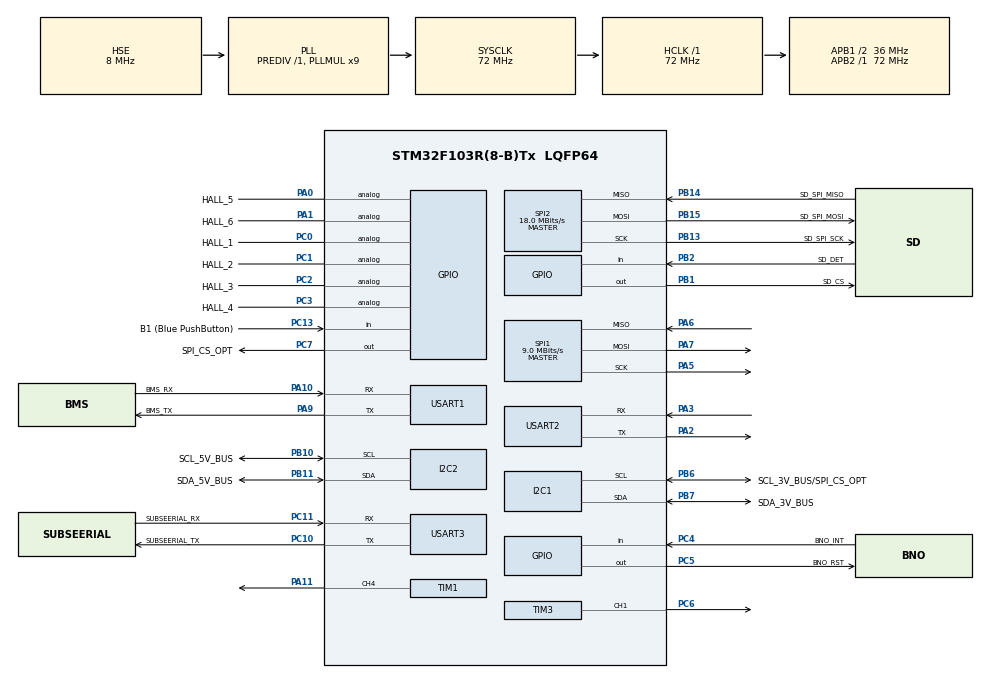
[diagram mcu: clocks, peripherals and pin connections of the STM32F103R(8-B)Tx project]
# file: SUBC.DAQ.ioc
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Mcu.Family=STM32F1
Mcu.Name=STM32F103R(8-B)Tx
Mcu.Package=LQFP64
NVIC.PriorityGroup=NVIC_PRIORITYGROUP_4
PA0-WKUP.GPIO_Label=HALL_5
PA0-WKUP.Signal=GPIO_Analog
PA1.GPIO_Label=HALL_6
PA1.Signal=GPIO_Analog
PA10.GPIO_Label=BMS_RX
PA10.Mode=Asynchronous
PA10.Signal=USART1_RX
PA11.Signal=S_TIM1_CH4
PA13.GPIO_Label=TMS
PA13.Mode=Serial_Wire
PA13.Signal=SYS_JTMS-SWDIO
PA14.GPIO_Label=TCK
PA14.Mode=Serial_Wire
PA14.Signal=SYS_JTCK-SWCLK
PA2.Mode=Asynchronous
PA2.Signal=USART2_TX
PA3.Mode=Asynchronous
PA3.Signal=USART2_RX
PA5.Mode=Full_Duplex_Master
PA5.Signal=SPI1_SCK
PA6.Mode=Full_Duplex_Master
PA6.Signal=SPI1_MISO
PA7.Mode=Full_Duplex_Master
PA7.Signal=SPI1_MOSI
PA9.GPIO_Label=BMS_TX
PA9.Mode=Asynchronous
PA9.Signal=USART1_TX
PB1.GPIO_Label=SD_CS
PB1.Signal=GPIO_Output
PB10.GPIO_Label=SCL_5V_BUS
PB10.Mode=I2C
PB10.Signal=I2C2_SCL
PB11.GPIO_Label=SDA_5V_BUS
PB11.Mode=I2C
PB11.Signal=I2C2_SDA
PB13.GPIO_Label=SD_SPI_SCK
PB13.Mode=Full_Duplex_Master
PB13.Signal=SPI2_SCK
PB14.GPIO_Label=SD_SPI_MISO
PB14.Mode=Full_Duplex_Master
PB14.Signal=SPI2_MISO
PB15.GPIO_Label=SD_SPI_MOSI
PB15.Mode=Full_Duplex_Master
PB15.Signal=SPI2_MOSI
PB2.GPIO_Label=SD_DET
PB2.Signal=GPIO_Input
PB3.GPIO_Label=SWO
PB3.Signal=SYS_JTDO-TRACESWO
PB6.GPIO_Label=SCL_3V_BUS/SPI_CS_OPT
PB6.Mode=I2C
PB6.Signal=I2C1_SCL
PB7.GPIO_Label=SDA_3V_BUS
PB7.Mode=I2C
PB7.Signal=I2C1_SDA
PC0.GPIO_Label=HALL_1
PC0.Signal=GPIO_Analog
PC1.GPIO_Label=HALL_2
PC1.Signal=GPIO_Analog
PC10.GPIO_Label=SUBSEERIAL_TX
PC10.Mode=Asynchronous
PC10.Signal=USART3_TX
PC11.GPIO_Label=SUBSEERIAL_RX
PC11.Mode=Asynchronous
PC11.Signal=USART3_RX
PC13-TAMPER-RTC.GPIO_Label=B1 (Blue PushButton)
PC13-TAMPER-RTC.Signal=GPIO_Input
PC14-OSC32_IN.Mode=LSE-External-Clock-Source
PC14-OSC32_IN.Signal=RCC_OSC32_IN
PC15-OSC32_OUT.Mode=LSE-External-Clock-Source
PC15-OSC32_OUT.Signal=RCC_OSC32_OUT
PC2.GPIO_Label=HALL_3
PC2.Signal=GPIO_Analog
PC3.GPIO_Label=HALL_4
PC3.Signal=GPIO_Analog
PC4.GPIO_Label=BNO_INT
PC4.Signal=GPIO_Input
PC5.GPIO_Label=BNO_RST
PC5.Signal=GPIO_Output
PC6.Signal=S_TIM3_CH1
PC7.GPIO_Label=SPI_CS_OPT
PC7.Signal=GPIO_Output
PD0-OSC_IN.Mode=HSE-External-Oscillator
PD0-OSC_IN.Signal=RCC_OSC_IN
PD1-OSC_OUT.Mode=HSE-External-Oscillator
PD1-OSC_OUT.Signal=RCC_OSC_OUT
ProjectManager.HeapSize=0x200
ProjectManager.StackSize=0x400
ProjectManager.TargetToolchain=Makefile
RCC.AHBFreq_Value=72000000
RCC.APB1CLKDivider=RCC_HCLK_DIV2
RCC.APB1Freq_Value=36000000
RCC.APB1TimFreq_Value=72000000
RCC.APB2Freq_Value=72000000
RCC.APB2TimFreq_Value=72000000
RCC.HCLKFreq_Value=72000000
RCC.PLLMUL=RCC_PLL_MUL9
RCC.PLLSourceVirtual=RCC_PLLSOURCE_HSE
RCC.SYSCLKFreq_VALUE=72000000
RCC.SYSCLKSource=RCC_SYSCLKSOURCE_PLLCLK
RCC.USBFreq_Value=72000000
SH.S_TIM1_CH4.0=TIM1_CH4,PWM Generation4 CH4
SH.S_TIM3_CH1.0=TIM3_CH1,PWM Generation1 CH1
SPI1.BaudRatePrescaler=SPI_BAUDRATEPRESCALER_8
SPI1.CalculateBaudRate=9.0 MBits/s
SPI1.Direction=SPI_DIRECTION_2LINES
SPI1.Mode=SPI_MODE_MASTER
SPI1.VirtualType=VM_MASTER
SPI2.BaudRatePrescaler=SPI_BAUDRATEPRESCALER_2
SPI2.CalculateBaudRate=18.0 MBits/s
SPI2.Direction=SPI_DIRECTION_2LINES
SPI2.Mode=SPI_MODE_MASTER
SPI2.VirtualType=VM_MASTER
TIM1.Channel-PWM\ Generation4\ CH4=TIM_CHANNEL_4
TIM3.Channel-PWM\ Generation1\ CH1=TIM_CHANNEL_1
USART1.VirtualMode=VM_ASYNC
USART2.VirtualMode=VM_ASYNC
USART3.VirtualMode=VM_ASYNC
VP_FATFS_VS_Generic.Mode=User_defined
VP_TIM1_VS_ClockSourceINT.Mode=Internal
VP_TIM3_VS_ClockSourceINT.Mode=Internal
board=custom

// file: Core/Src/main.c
/* USER CODE BEGIN Header */
/**
  ******************************************************************************
  * @file           : main.c
  * @brief          : Main program body
  ******************************************************************************
  * @attention
  *
  * <h2><center>&copy; Copyright (c) 2022 STMicroelectronics.
  * All rights reserved.</center></h2>
  *
  * This software component is licensed by ST under BSD 3-Clause license,
  * the "License"; You may not use this file except in compliance with the
  * License. You may obtain a copy of the License at:
  *                        opensource.org/licenses/BSD-3-Clause
  *
  ******************************************************************************
  */
/* USER CODE END Header */
#include "main.h"
#include "fatfs.h"

/* USER CODE BEGIN Includes */
#include "bno055_stm32.h"
#include "MS5837.h"
#include <stdio.h>
#include <string.h>
#include <stdarg.h>
/* USER CODE END Includes */

/* USER CODE BEGIN PTD */
#define MAX_LED 50
#define USE_BRIGHTNESS 0
/* USER CODE END PTD */

 I2C_HandleTypeDef hi2c1;
I2C_HandleTypeDef hi2c2;

SPI_HandleTypeDef hspi1;
SPI_HandleTypeDef hspi2;

TIM_HandleTypeDef htim1;
TIM_HandleTypeDef htim3;

UART_HandleTypeDef huart1;
UART_HandleTypeDef huart2;
UART_HandleTypeDef huart3;

/* USER CODE BEGIN PV */
uint8_t LED_Data[MAX_LED][4]; //Array to store the colour of LED
uint8_t LED_Mod[MAX_LED][4]; //Array to store the brightness of the LED
uint16_t pwmData[(24*MAX_LED)+50]; //Array to store colour in PWM format that LEDs expect
volatile int datasentflag=0;
/* USER CODE END PV */

void SystemClock_Config(void);
static void MX_GPIO_Init(void);
static void MX_USART2_UART_Init(void);
static void MX_I2C1_Init(void);
static void MX_SPI2_Init(void);
static void MX_USART1_UART_Init(void);
static void MX_USART3_UART_Init(void);
static void MX_I2C2_Init(void);
static void MX_SPI1_Init(void);
static void MX_TIM1_Init(void);
static void MX_TIM3_Init(void);
/* USER CODE BEGIN PFP */
void myprintf(const char *fmt, ...);
void Set_LED (int LEDnum, int Red, int Green, int Blue);
void LED_Sequence(int mode, int Red, int Green, int Blue);
void SetSome(int Red, int Green, int Blue, int interval, int start);
void SweepAll(int Red, int Green, int Blue);
void Christmas(int mode);
void LED_RaceStart(void);
void TestAll(int Red, int Green, int Blue);
double CalculateAccel (double velocity1, double velocity2, double time);
void ReflectData(double vector);
/* USER CODE END PFP */

/* USER CODE BEGIN 0 */

void myprintf(const char *fmt, ...) {
  static char buffer[256];
  va_list args;
  va_start(args, fmt);
  vsnprintf(buffer, sizeof(buffer), fmt, args);
  va_end(args);

  int len = strlen(buffer);
  HAL_UART_Transmit(&huart2, (uint8_t*)buffer, len, -1);
}

//Function to set LED colours
void Set_LED (int LEDnum, int Red, int Green, int Blue)
{
	LED_Data[LEDnum][0] = LEDnum;
	LED_Data[LEDnum][1] = Red;
	LED_Data[LEDnum][2] = Green;
	LED_Data[LEDnum][3] = Blue;
}

//Function to send data to LEDs
void WS2812_Send (void)
{
	uint32_t index=0; //Indexing varibale used to maintain its value through loops
	uint32_t colour;

  for (int i = 0; i < MAX_LED; i++){
    //Extract colour for current LED as a 24-bit string. Each element of LED_Data is 8 bits
    colour = ((LED_Data[i][1]<<16)|(LED_Data[i][2]<<8)|(LED_Data[i][3]));

    //Parse the extracted colour to see how long the PWM should be for each bit
    //Start j at 23 since MSB must be sent first(see datasheet)
    for (int j = 23; j >= 0; j--){

      if(colour & (1<<j)){
        pwmData[index] = 70*0.56667; //In order to send a 1, the duty cycle must be 0.56667
      }
      else pwmData[index] = 70*0.3; //In order to send a 0, the duty cycle must be 0.3
      index++;
    }

  }

  //Add the reset string so that the LEDs know that the end of the string has been reached
  for(int i = 0; i<50; i++){
    pwmData[index] = 0;
    index++;
  }

  //Once the LED colours have been parsed, send the data!
  HAL_TIM_PWM_Start_DMA(&htim1, TIM_CHANNEL_2, (uint32_t*)pwmData, index);
  while(!datasentflag){}; //Wait until data has been sent(flag is set through an interrupt)
  datasentflag = 0; //Reset flag after data has beens sent so we can send more data
}

void HAL_TIM_PWM_PulseFinishedCallback(TIM_HandleTypeDef *htim)
{
	HAL_TIM_PWM_Stop_DMA(&htim1, TIM_CHANNEL_2);
  datasentflag=1;
}

//Sets all LEDs to one colour
void SetAll(int Red, int Green, int Blue){
  for(int i = 0; i < 50; i++){
    Set_LED(i, Red, Green, Blue);
  }
}

//Sets some LEDs to a colour using a start number and intervals of incrementation
void SetSome(int Red, int Green, int Blue, int interval, int start){
  for(int i = start; i < 50; i += interval){
    Set_LED(i, Red, Green, Blue);
  }
}

//Function to set LEDs in certain ranges (0 through 10, 5 through 30, etc.)
void SetSection(int Red, int Green, int Blue, int start, int final)
{
  for(int i = start; i <= final; i++){
    Set_LED(i, Red, Green, Blue);
  }
}

//fades all the LEDs between some colour and off
void SweepAll(int Red, int Green, int Blue)
{
  for(double i = 0; i < 1; i += 0.01){
    SetAll(i*Red, i*Green, i*Blue);
    WS2812_Send();
    HAL_Delay(10);
  }
  for(double i = 1; i > 0; i -= 0.01){
    SetAll(i*Red, i*Green, i*Blue);
    WS2812_Send();
    HAL_Delay(10);
  }
  HAL_Delay(100);
}

//:)
void Christmas(int mode)
{
  //mode 0: static
  //mode 1: change lights up
  //mode 2: change lights down

  if(mode == 0){
   for(int i = 0; i < 50 ; i++){
      if(i % 3 == 0){
        Set_LED(i, 255, 0, 0); //red
      }
      else if(i % 3 == 1){
        Set_LED(i, 255, 255, 255); //white
      }
      else if(i % 3 == 2){
        Set_LED(i, 88, 139, 31); //green
      }
    }
  }
  else if(mode == 1){
    for(int i = 0; i < 50 ; i++){
      switch (LED_Data[i][2]) //if green is...
      {
      case 0: //in red mode
        Set_LED(i, 255, 255, 255); //make it white
        break;

      case 255: //in white mode
         Set_LED(i, 88, 139, 31); //to green
        break;

      case 139: //in green mode
        Set_LED(i, 255, 0, 0); //make it red
        break;

      default:
        break;
      }

      }
    }
    else if(mode == 2){
    for(int i = 0; i < 50 ; i++){
      switch (LED_Data[i][2])
      {
      case 0:
        Set_LED(i, 88, 139, 31);
        break;

      case 255:
         Set_LED(i, 255, 0, 0);
        break;

      case 139:
        Set_LED(i, 255, 255, 255);
        break;

      default:
        break;
      }

      }
    }

}

//sets all leds to certain colours for periods of time before setting them off
void LED_RaceStart(void){
  SetAll(255, 0, 0);
  WS2812_Send();
  HAL_Delay(2000);

  SetAll(150, 100, 0);
  WS2812_Send();
  HAL_Delay(2000);

  SetAll(0, 255, 0);
  WS2812_Send();
  HAL_Delay(2000);

  SetAll(0,0,0);
  WS2812_Send();
}

//if mode is 1, then the leds turn some colour, one by one
void LED_Sequence(int mode, int Red, int Green, int Blue){
  for(int i = 0; i < 50; i++){
    if(mode == 1){
       Set_LED(i, Red, Green, Blue);
    }
    else Set_LED(i, 0, 0, 0);

    WS2812_Send();
    HAL_Delay(50);
  }
}

//test function
void TestAll(int Red, int Green, int Blue){
  Set_LED(0, Red, Green, Blue);

  for(int i = 1; i < 50; i++){
    SetAll(0,0,0);
    Set_LED(i, Red, Green, Blue);
    WS2812_Send();
    while(HAL_GPIO_ReadPin(B1_GPIO_Port, B1_Pin)){}
    while(!HAL_GPIO_ReadPin(B1_GPIO_Port, B1_Pin)){}
  }
}
void ReflectData(double vector) {
 if (vector > 0){
   SetAll(255, 0, 0);
 } else if (vector < 0) {
   SetAll(0, 255, 0);
 }
}

double CalculateAccel (double velocity1, double velocity2, double time) {
  double acceleration = (velocity1 + velocity2)/time;

  return acceleration;
}

/* USER CODE END 0 */

int main(void)
{
  /* USER CODE BEGIN 1 */
  float altitude_float = 0;
  float depth_float = 0;

  /* USER CODE END 1 */

  /* MCU Configuration--------------------------------------------------------*/

  /* Reset of all peripherals, Initializes the Flash interface and the Systick. */
  HAL_Init();

  /* Configure the system clock */
  SystemClock_Config();

  /* Initialize all configured peripherals */
  MX_GPIO_Init();
  MX_USART2_UART_Init();
  MX_I2C1_Init();
  MX_SPI2_Init();
  MX_USART1_UART_Init();
  MX_USART3_UART_Init();
  MX_I2C2_Init();
  MX_SPI1_Init();
  MX_FATFS_Init();
  MX_TIM1_Init();
  MX_TIM3_Init();
  /* USER CODE BEGIN 2 */

  bno055_assignI2C(&hi2c1);
  bno055_setup();
  bno055_setOperationModeNDOF();

  HAL_Delay(1000); //a short delay is important to let the SD card settle

  bno055_vector_t v = {0,0,0,0};
  SetAll(255,0,255);
  WS2812_Send();

  // checks if initialization worked
  while (!MS5837_init(&hi2c1)) {
    myprintf("Init failed!");
  }
  myprintf("Sensor initialized\n\r");
  /* USER CODE END 2 */

  /* Infinite loop */
  /* USER CODE BEGIN WHILE */
  while (1)
  {
    // depth sensor code
    MS5837_read(&hi2c1);
    altitude_float = altitude();
    depth_float = depth();

    // if printing: Altitude: 44307, Depth: -10, then pressure is not being read (or is 0), probably the former.
    myprintf("Altitude: %d, Depth: %d\r\n", (int) altitude_float, (int) depth_float);

    // bno code
	  HAL_Delay(30);
    v = bno055_getVectorEuler();
    myprintf("Yaw: %d Roll: %d Pitch: %d\r\n", (int) v.x, (int) v.z, (int) v.y);
    SetAll(255,0,255);
    WS2812_Send();

    /* USER CODE END WHILE */

  }
}

void SystemClock_Config(void)
{
  RCC_OscInitTypeDef RCC_OscInitStruct = {0};
  RCC_ClkInitTypeDef RCC_ClkInitStruct = {0};

  /** Initializes the RCC Oscillators according to the specified parameters
  * in the RCC_OscInitTypeDef structure.
  */
  RCC_OscInitStruct.OscillatorType = RCC_OSCILLATORTYPE_HSE;
  RCC_OscInitStruct.HSEState = RCC_HSE_ON;
  RCC_OscInitStruct.HSEPredivValue = RCC_HSE_PREDIV_DIV1;
  RCC_OscInitStruct.HSIState = RCC_HSI_ON;
  RCC_OscInitStruct.PLL.PLLState = RCC_PLL_ON;
  RCC_OscInitStruct.PLL.PLLSource = RCC_PLLSOURCE_HSE;
  RCC_OscInitStruct.PLL.PLLMUL = RCC_PLL_MUL9;
  if (HAL_RCC_OscConfig(&RCC_OscInitStruct) != HAL_OK)
  {
    Error_Handler();
  }

  /** Initializes the CPU, AHB and APB buses clocks
  */
  RCC_ClkInitStruct.ClockType = RCC_CLOCKTYPE_HCLK|RCC_CLOCKTYPE_SYSCLK
                              |RCC_CLOCKTYPE_PCLK1|RCC_CLOCKTYPE_PCLK2;
  RCC_ClkInitStruct.SYSCLKSource = RCC_SYSCLKSOURCE_PLLCLK;
  RCC_ClkInitStruct.AHBCLKDivider = RCC_SYSCLK_DIV1;
  RCC_ClkInitStruct.APB1CLKDivider = RCC_HCLK_DIV2;
  RCC_ClkInitStruct.APB2CLKDivider = RCC_HCLK_DIV1;

  if (HAL_RCC_ClockConfig(&RCC_ClkInitStruct, FLASH_LATENCY_2) != HAL_OK)
  {
    Error_Handler();
  }
}

static void MX_I2C1_Init(void)
{

  hi2c1.Instance = I2C1;
  hi2c1.Init.ClockSpeed = 100000;
  hi2c1.Init.DutyCycle = I2C_DUTYCYCLE_2;
  hi2c1.Init.OwnAddress1 = 0;
  hi2c1.Init.AddressingMode = I2C_ADDRESSINGMODE_7BIT;
  hi2c1.Init.DualAddressMode = I2C_DUALADDRESS_DISABLE;
  hi2c1.Init.OwnAddress2 = 0;
  hi2c1.Init.GeneralCallMode = I2C_GENERALCALL_DISABLE;
  hi2c1.Init.NoStretchMode = I2C_NOSTRETCH_DISABLE;
  if (HAL_I2C_Init(&hi2c1) != HAL_OK)
  {
    Error_Handler();
  }

}

static void MX_I2C2_Init(void)
{

  hi2c2.Instance = I2C2;
  hi2c2.Init.ClockSpeed = 100000;
  hi2c2.Init.DutyCycle = I2C_DUTYCYCLE_2;
  hi2c2.Init.OwnAddress1 = 0;
  hi2c2.Init.AddressingMode = I2C_ADDRESSINGMODE_7BIT;
  hi2c2.Init.DualAddressMode = I2C_DUALADDRESS_DISABLE;
  hi2c2.Init.OwnAddress2 = 0;
  hi2c2.Init.GeneralCallMode = I2C_GENERALCALL_DISABLE;
  hi2c2.Init.NoStretchMode = I2C_NOSTRETCH_DISABLE;
  if (HAL_I2C_Init(&hi2c2) != HAL_OK)
  {
    Error_Handler();
  }

}

static void MX_SPI1_Init(void)
{

  /* SPI1 parameter configuration*/
  hspi1.Instance = SPI1;
  hspi1.Init.Mode = SPI_MODE_MASTER;
  hspi1.Init.Direction = SPI_DIRECTION_2LINES;
  hspi1.Init.DataSize = SPI_DATASIZE_8BIT;
  hspi1.Init.CLKPolarity = SPI_POLARITY_LOW;
  hspi1.Init.CLKPhase = SPI_PHASE_1EDGE;
  hspi1.Init.NSS = SPI_NSS_SOFT;
  hspi1.Init.BaudRatePrescaler = SPI_BAUDRATEPRESCALER_8;
  hspi1.Init.FirstBit = SPI_FIRSTBIT_MSB;
  hspi1.Init.TIMode = SPI_TIMODE_DISABLE;
  hspi1.Init.CRCCalculation = SPI_CRCCALCULATION_DISABLE;
  hspi1.Init.CRCPolynomial = 10;
  if (HAL_SPI_Init(&hspi1) != HAL_OK)
  {
    Error_Handler();
  }

}

static void MX_SPI2_Init(void)
{

  /* SPI2 parameter configuration*/
  hspi2.Instance = SPI2;
  hspi2.Init.Mode = SPI_MODE_MASTER;
  hspi2.Init.Direction = SPI_DIRECTION_2LINES;
  hspi2.Init.DataSize = SPI_DATASIZE_8BIT;
  hspi2.Init.CLKPolarity = SPI_POLARITY_LOW;
  hspi2.Init.CLKPhase = SPI_PHASE_1EDGE;
  hspi2.Init.NSS = SPI_NSS_SOFT;
  hspi2.Init.BaudRatePrescaler = SPI_BAUDRATEPRESCALER_2;
  hspi2.Init.FirstBit = SPI_FIRSTBIT_MSB;
  hspi2.Init.TIMode = SPI_TIMODE_DISABLE;
  hspi2.Init.CRCCalculation = SPI_CRCCALCULATION_DISABLE;
  hspi2.Init.CRCPolynomial = 10;
  if (HAL_SPI_Init(&hspi2) != HAL_OK)
  {
    Error_Handler();
  }

}

static void MX_TIM1_Init(void)
{

  TIM_ClockConfigTypeDef sClockSourceConfig = {0};
  TIM_MasterConfigTypeDef sMasterConfig = {0};
  TIM_OC_InitTypeDef sConfigOC = {0};
  TIM_BreakDeadTimeConfigTypeDef sBreakDeadTimeConfig = {0};

  htim1.Instance = TIM1;
  htim1.Init.Prescaler = 0;
  htim1.Init.CounterMode = TIM_COUNTERMODE_UP;
  htim1.Init.Period = 65535;
  htim1.Init.ClockDivision = TIM_CLOCKDIVISION_DIV1;
  htim1.Init.RepetitionCounter = 0;
  htim1.Init.AutoReloadPreload = TIM_AUTORELOAD_PRELOAD_DISABLE;
  if (HAL_TIM_Base_Init(&htim1) != HAL_OK)
  {
    Error_Handler();
  }
  sClockSourceConfig.ClockSource = TIM_CLOCKSOURCE_INTERNAL;
  if (HAL_TIM_ConfigClockSource(&htim1, &sClockSourceConfig) != HAL_OK)
  {
    Error_Handler();
  }
  if (HAL_TIM_PWM_Init(&htim1) != HAL_OK)
  {
    Error_Handler();
  }
  sMasterConfig.MasterOutputTrigger = TIM_TRGO_RESET;
  sMasterConfig.MasterSlaveMode = TIM_MASTERSLAVEMODE_DISABLE;
  if (HAL_TIMEx_MasterConfigSynchronization(&htim1, &sMasterConfig) != HAL_OK)
  {
    Error_Handler();
  }
  sConfigOC.OCMode = TIM_OCMODE_PWM1;
  sConfigOC.Pulse = 0;
  sConfigOC.OCPolarity = TIM_OCPOLARITY_HIGH;
  sConfigOC.OCFastMode = TIM_OCFAST_DISABLE;
  sConfigOC.OCIdleState = TIM_OCIDLESTATE_RESET;
  sConfigOC.OCNIdleState = TIM_OCNIDLESTATE_RESET;
  if (HAL_TIM_PWM_ConfigChannel(&htim1, &sConfigOC, TIM_CHANNEL_4) != HAL_OK)
  {
    Error_Handler();
  }
  sBreakDeadTimeConfig.OffStateRunMode = TIM_OSSR_DISABLE;
  sBreakDeadTimeConfig.OffStateIDLEMode = TIM_OSSI_DISABLE;
  sBreakDeadTimeConfig.LockLevel = TIM_LOCKLEVEL_OFF;
  sBreakDeadTimeConfig.DeadTime = 0;
  sBreakDeadTimeConfig.BreakState = TIM_BREAK_DISABLE;
  sBreakDeadTimeConfig.BreakPolarity = TIM_BREAKPOLARITY_HIGH;
  sBreakDeadTimeConfig.AutomaticOutput = TIM_AUTOMATICOUTPUT_DISABLE;
  if (HAL_TIMEx_ConfigBreakDeadTime(&htim1, &sBreakDeadTimeConfig) != HAL_OK)
  {
    Error_Handler();
  }
  HAL_TIM_MspPostInit(&htim1);

}

static void MX_TIM3_Init(void)
{

  TIM_ClockConfigTypeDef sClockSourceConfig = {0};
  TIM_MasterConfigTypeDef sMasterConfig = {0};
  TIM_OC_InitTypeDef sConfigOC = {0};

  htim3.Instance = TIM3;
  htim3.Init.Prescaler = 0;
  htim3.Init.CounterMode = TIM_COUNTERMODE_UP;
  htim3.Init.Period = 65535;
  htim3.Init.ClockDivision = TIM_CLOCKDIVISION_DIV1;
  htim3.Init.AutoReloadPreload = TIM_AUTORELOAD_PRELOAD_DISABLE;
  if (HAL_TIM_Base_Init(&htim3) != HAL_OK)
  {
    Error_Handler();
  }
  sClockSourceConfig.ClockSource = TIM_CLOCKSOURCE_INTERNAL;
  if (HAL_TIM_ConfigClockSource(&htim3, &sClockSourceConfig) != HAL_OK)
  {
    Error_Handler();
  }
  if (HAL_TIM_PWM_Init(&htim3) != HAL_OK)
  {
    Error_Handler();
  }
  sMasterConfig.MasterOutputTrigger = TIM_TRGO_RESET;
  sMasterConfig.MasterSlaveMode = TIM_MASTERSLAVEMODE_DISABLE;
  if (HAL_TIMEx_MasterConfigSynchronization(&htim3, &sMasterConfig) != HAL_OK)
  {
    Error_Handler();
  }
  sConfigOC.OCMode = TIM_OCMODE_PWM1;
  sConfigOC.Pulse = 0;
  sConfigOC.OCPolarity = TIM_OCPOLARITY_HIGH;
  sConfigOC.OCFastMode = TIM_OCFAST_DISABLE;
  if (HAL_TIM_PWM_ConfigChannel(&htim3, &sConfigOC, TIM_CHANNEL_1) != HAL_OK)
  {
    Error_Handler();
  }
  HAL_TIM_MspPostInit(&htim3);

}

static void MX_USART1_UART_Init(void)
{

  huart1.Instance = USART1;
  huart1.Init.BaudRate = 115200;
  huart1.Init.WordLength = UART_WORDLENGTH_8B;
  huart1.Init.StopBits = UART_STOPBITS_1;
  huart1.Init.Parity = UART_PARITY_NONE;
  huart1.Init.Mode = UART_MODE_TX_RX;
  huart1.Init.HwFlowCtl = UART_HWCONTROL_NONE;
  huart1.Init.OverSampling = UART_OVERSAMPLING_16;
  if (HAL_UART_Init(&huart1) != HAL_OK)
  {
    Error_Handler();
  }

}

static void MX_USART2_UART_Init(void)
{

  huart2.Instance = USART2;
  huart2.Init.BaudRate = 115200;
  huart2.Init.WordLength = UART_WORDLENGTH_8B;
  huart2.Init.StopBits = UART_STOPBITS_1;
  huart2.Init.Parity = UART_PARITY_NONE;
  huart2.Init.Mode = UART_MODE_TX_RX;
  huart2.Init.HwFlowCtl = UART_HWCONTROL_NONE;
  huart2.Init.OverSampling = UART_OVERSAMPLING_16;
  if (HAL_UART_Init(&huart2) != HAL_OK)
  {
    Error_Handler();
  }

}

static void MX_USART3_UART_Init(void)
{

  huart3.Instance = USART3;
  huart3.Init.BaudRate = 115200;
  huart3.Init.WordLength = UART_WORDLENGTH_8B;
  huart3.Init.StopBits = UART_STOPBITS_1;
  huart3.Init.Parity = UART_PARITY_NONE;
  huart3.Init.Mode = UART_MODE_TX_RX;
  huart3.Init.HwFlowCtl = UART_HWCONTROL_NONE;
  huart3.Init.OverSampling = UART_OVERSAMPLING_16;
  if (HAL_UART_Init(&huart3) != HAL_OK)
  {
    Error_Handler();
  }

}

static void MX_GPIO_Init(void)
{
  GPIO_InitTypeDef GPIO_InitStruct = {0};

  /* GPIO Ports Clock Enable */
  __HAL_RCC_GPIOC_CLK_ENABLE();
  __HAL_RCC_GPIOD_CLK_ENABLE();
  __HAL_RCC_GPIOA_CLK_ENABLE();
  __HAL_RCC_GPIOB_CLK_ENABLE();

  /*Configure GPIO pin Output Level */
  HAL_GPIO_WritePin(GPIOC, BNO_RST_Pin|SPI_CS_OPT_Pin, GPIO_PIN_RESET);

  /*Configure GPIO pin Output Level */
  HAL_GPIO_WritePin(SD_CS_GPIO_Port, SD_CS_Pin, GPIO_PIN_RESET);

  /*Configure GPIO pins : B1_Pin BNO_INT_Pin */
  GPIO_InitStruct.Pin = B1_Pin|BNO_INT_Pin;
  GPIO_InitStruct.Mode = GPIO_MODE_INPUT;
  GPIO_InitStruct.Pull = GPIO_NOPULL;
  HAL_GPIO_Init(GPIOC, &GPIO_InitStruct);

  /*Configure GPIO pins : HALL_1_Pin HALL_2_Pin HALL_3_Pin HALL_4_Pin */
  GPIO_InitStruct.Pin = HALL_1_Pin|HALL_2_Pin|HALL_3_Pin|HALL_4_Pin;
  GPIO_InitStruct.Mode = GPIO_MODE_ANALOG;
  HAL_GPIO_Init(GPIOC, &GPIO_InitStruct);

  /*Configure GPIO pins : HALL_5_Pin HALL_6_Pin */
  GPIO_InitStruct.Pin = HALL_5_Pin|HALL_6_Pin;
  GPIO_InitStruct.Mode = GPIO_MODE_ANALOG;
  HAL_GPIO_Init(GPIOA, &GPIO_InitStruct);

  /*Configure GPIO pins : BNO_RST_Pin SPI_CS_OPT_Pin */
  GPIO_InitStruct.Pin = BNO_RST_Pin|SPI_CS_OPT_Pin;
  GPIO_InitStruct.Mode = GPIO_MODE_OUTPUT_PP;
  GPIO_InitStruct.Pull = GPIO_NOPULL;
  GPIO_InitStruct.Speed = GPIO_SPEED_FREQ_LOW;
  HAL_GPIO_Init(GPIOC, &GPIO_InitStruct);

  /*Configure GPIO pin : SD_CS_Pin */
  GPIO_InitStruct.Pin = SD_CS_Pin;
  GPIO_InitStruct.Mode = GPIO_MODE_OUTPUT_PP;
  GPIO_InitStruct.Pull = GPIO_NOPULL;
  GPIO_InitStruct.Speed = GPIO_SPEED_FREQ_LOW;
  HAL_GPIO_Init(SD_CS_GPIO_Port, &GPIO_InitStruct);

  /*Configure GPIO pin : SD_DET_Pin */
  GPIO_InitStruct.Pin = SD_DET_Pin;
  GPIO_InitStruct.Mode = GPIO_MODE_INPUT;
  GPIO_InitStruct.Pull = GPIO_NOPULL;
  HAL_GPIO_Init(SD_DET_GPIO_Port, &GPIO_InitStruct);

}

void Error_Handler(void)
{
  __disable_irq();
  while (1)
  {
  }
}
